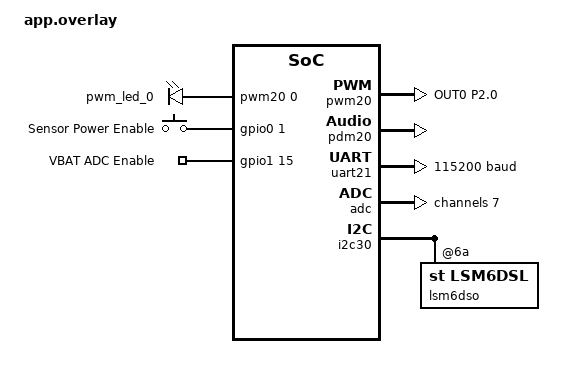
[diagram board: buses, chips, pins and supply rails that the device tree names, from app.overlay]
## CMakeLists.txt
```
#
# Copyright (c) 2018 Nordic Semiconductor
#
# SPDX-License-Identifier: LicenseRef-Nordic-5-Clause
#
cmake_minimum_required(VERSION 3.20.0)

find_package(Zephyr REQUIRED HINTS $ENV{ZEPHYR_BASE})
project(nRF54L15_peripheral_uart)

# NORDIC SDK APP START
target_sources(app PRIVATE
  src/main.c
  src/hardware/power_control.c
  src/hardware/pdm_handler.c
  src/hardware/imu_manager.c
  src/processing/dsp_processor.c
  src/bluetooth/ble_service.c
  src/bluetooth/ble_bas.c
  src/bluetooth/ble_dis.c
  src/system/battery_monitor.c
  src/system/power_manager.c
  src/system/watchdog.c
)

target_include_directories(app PRIVATE
  src/
  src/hardware/
  src/processing/
  src/bluetooth/
  src/system/
  src/config/
)

# NORDIC SDK APP END
```

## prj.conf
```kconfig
CONFIG_BT=y
CONFIG_BT_PERIPHERAL=y
CONFIG_BT_DEVICE_NAME="nRF54L15 Bluetooth LE"
CONFIG_BT_MAX_CONN=1
CONFIG_BT_MAX_PAIRED=1


# CMSIS-DSP for FFT
CONFIG_CMSIS_DSP=y
CONFIG_CMSIS_DSP_TRANSFORM=y
CONFIG_CMSIS_DSP_FASTMATH=y
CONFIG_CMSIS_DSP_COMPLEXMATH=y
CONFIG_CMSIS_DSP_STATISTICS=y

CONFIG_FPU=y
CONFIG_FPU_SHARING=y

# Audio / PDM Microphone
CONFIG_AUDIO=y
CONFIG_AUDIO_DMIC=y
CONFIG_AUDIO_DMIC_NRFX_PDM=y
CONFIG_NRFX_PDM=y

CONFIG_CBPRINTF_FP_SUPPORT=y
CONFIG_NEWLIB_LIBC=y
CONFIG_NEWLIB_LIBC_FLOAT_PRINTF=y

# General System
CONFIG_CLOCK_CONTROL_NRF_K32SRC_RC=y
CONFIG_BT_NUS=y
CONFIG_PWM=y
CONFIG_SERIAL=y
CONFIG_CONSOLE=y
CONFIG_UART_CONSOLE=y
CONFIG_LOG=y
CONFIG_LOG_BACKEND_UART=y
CONFIG_LOG_PRINTK=y
CONFIG_LOG_RUNTIME_FILTERING=y
# Watchdog aktivieren für Production Stability (needs devicetree wdt node)
CONFIG_WATCHDOG=y
CONFIG_ASSERT=y
CONFIG_HEAP_MEM_POOL_SIZE=8192
# Stack-Größen
CONFIG_MAIN_STACK_SIZE=4096
CONFIG_SYSTEM_WORKQUEUE_STACK_SIZE=4096

# Bluetooth Stack
CONFIG_BT_RX_STACK_SIZE=8192
CONFIG_BT_HCI_TX_STACK_SIZE=4096
CONFIG_BT_CTLR_TX_PWR_0=y

# Power Management (manual k_sleep/k_cpu_idle for nRF54L15)
# CONFIG_PM=y
# CONFIG_PM_DEVICE=y


# I2C and IMU
CONFIG_I2C=y
CONFIG_SENSOR=y
CONFIG_LSM6DSL=y
CONFIG_LSM6DSL_TRIGGER_NONE=y

# ADC for Battery Monitoring
CONFIG_ADC=y
CONFIG_ADC_NRFX_SAADC=y

# BLE Services
CONFIG_BT_BAS=y
CONFIG_BT_DIS=y
CONFIG_BT_DIS_STR_MAX=32

# Logging optimiert für Production
CONFIG_LOG_DEFAULT_LEVEL=2
CONFIG_LOG_MODE_DEFERRED=y
```

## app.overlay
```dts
/ {
	chosen {
		zephyr,console = &uart21;
		zephyr,shell-uart = &uart21;
	};

	pwmleds {
		compatible = "pwm-leds";
		pwm_led_0: pwm_led_0 {
			pwms = <&pwm20 0 PWM_MSEC(10) PWM_POLARITY_INVERTED>;
		};
	};

	aliases {
		pwm-led0 = &pwm_led_0;
		sensor-power = &sensor_power;
		vbat-enable = &vbat_enable;
	};

	power_control {
		compatible = "gpio-keys";
		sensor_power: sensor_power {
			gpios = <&gpio0 1 GPIO_ACTIVE_HIGH>;
			label = "Sensor Power Enable";
		};
		vbat_enable: vbat_enable {
			gpios = <&gpio1 15 GPIO_ACTIVE_HIGH>;
			label = "VBAT ADC Enable";
		};
	};
};

&led0 {
	status = "disabled";
};

&pinctrl {
	pwm20_default: pwm20_default {
		group1 {
			psels = <NRF_PSEL(PWM_OUT0, 2, 0)>;
			nordic,drive-mode = <NRF_DRIVE_S0S1>;
		};
	};
	pwm20_sleep: pwm20_sleep {
		group1 {
			psels = <NRF_PSEL(PWM_OUT0, 2, 0)>;
			low-power-enable;
		};
	};
};

&pwm20 {
	status = "okay";
	pinctrl-0 = <&pwm20_default>;
	pinctrl-1 = <&pwm20_sleep>;
	pinctrl-names = "default", "sleep";
};

dmic_dev: &pdm20 {
	status = "okay";
	clock-source = "PCLK32M_HFXO";
};

&uart21 {
	status = "okay";
	current-speed = <115200>;
};

&gpio0 {
	/* Remove conflicting gpio-hog */
	/delete-node/ imu_power_default_on;
};

&adc {
	status = "okay";
	#address-cells = <1>;
	#size-cells = <0>;
	
	channel@7 {
		reg = <7>;
		zephyr,gain = "ADC_GAIN_1";
		zephyr,reference = "ADC_REF_INTERNAL";
		zephyr,acquisition-time = <ADC_ACQ_TIME_DEFAULT>;
		zephyr,resolution = <12>;
	};
};

&i2c30 {
	/* The board physically has an LSM6DS3TR-C (WHO_AM_I = 0x6A). 
	   Zephyr's lsm6dso driver expects 0x6C and fails. lsm6dsl expects 0x6A. 
	   We simply override the compatible string of the existing node 
	   and delete the incompatible properties. */
	lsm6dso@6a {
		compatible = "st,lsm6dsl";
		/delete-property/ accel-pm;
		/delete-property/ gyro-pm;
	};
};
```

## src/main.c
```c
#include <stdlib.h>
#include <stdio.h>
#include <string.h>
#include <math.h>
#include <zephyr/logging/log.h>
#include <zephyr/kernel.h>
#include <zephyr/device.h>
#include <zephyr/devicetree.h>
#include <zephyr/drivers/sensor.h>
#include <zephyr/init.h>
#include <zephyr/logging/log_ctrl.h>

#include "app_config.h"
#include "power_control.h"
#include "pdm_handler.h"
#include "imu_manager.h"
#include "dsp_processor.h"
#include "ble_service.h"
#include "ble_bas.h"
#include "ble_dis.h"
#include "battery_monitor.h"
#include "power_manager.h"
#include "watchdog.h"

LOG_MODULE_REGISTER(main, LOG_LEVEL_INF);

static K_SEM_DEFINE(ble_tx_sem, 0, 1);
static K_SEM_DEFINE(industry_sample_sem, 0, 1);
static atomic_t fft_ready_idx = ATOMIC_INIT(0);
static uint8_t fft_buf[2][FFT_BANDS + 1];

void trigger_industry_sample(void)
{
	k_sem_give(&industry_sample_sem);
}

static int64_t last_uart_imu_time = 0;
static int64_t last_uart_mic_time = 0;
static int64_t last_battery_check = 0;
static uint8_t last_battery_level = 100;

static k_tid_t audio_thread_id;
static k_tid_t sensor_thread_id;
static k_tid_t ble_tx_thread_id;

void audio_thread_suspend(void)
{
	if (audio_thread_id) {
		k_thread_suspend(audio_thread_id);
	}
}

void audio_thread_resume(void)
{
	if (audio_thread_id) {
		k_thread_resume(audio_thread_id);
	}
}

void sensor_thread_suspend(void)
{
	if (sensor_thread_id) {
		k_thread_suspend(sensor_thread_id);
	}
}

void sensor_thread_resume(void)
{
	if (sensor_thread_id) {
		k_thread_resume(sensor_thread_id);
	}
}

static void audio_thread_fn(void)
{
	k_sleep(K_MSEC(100));
	pdm_handler_start();
	
	while (1) {
		watchdog_feed();
		
		void *buf = NULL;
		size_t size = 0;
		int ret = pdm_handler_read(&buf, &size, 150);
		
		if (ret == 0 && buf && size >= BLOCK_SIZE_BYTES) {
			uint8_t bands[FFT_BANDS];
			dsp_processor_compute_fft((int16_t *)buf, BLOCK_SIZE_BYTES / 2, bands);
			
			if (power_manager_get_mode() == MODE_CONTINUOUS) {
				int idx = atomic_get(&fft_ready_idx);
				memcpy(fft_buf[idx], bands, FFT_BANDS + 1);  // Copy all 33 bytes (0xFF + 32 bands)
				atomic_set(&fft_ready_idx, 1 - idx);
				k_sem_give(&ble_tx_sem);
			}
			
			pdm_handler_free(buf);
			
			int64_t now = k_uptime_get();
			if (now - last_uart_mic_time >= UART_INTERVAL_MS) {
				last_uart_mic_time = now;
				
				uint8_t peak_band = 0;
				uint8_t peak_val = 0;
				uint32_t sum_sq = 0;
				
				for (int i = 0; i < FFT_BANDS; i++) {
					if (bands[i] > peak_val) {
						peak_val = bands[i];
						peak_band = i;
					}
					sum_sq += (uint32_t)bands[i] * bands[i];
				}
				
				float rms = sqrtf(sum_sq / (float)FFT_BANDS);
				float peak_db = (peak_val / 255.0f) * 90.0f;
				float rms_db = (rms / 255.0f) * 90.0f;
				
				LOG_INF("MIC: peak_band=%u peak=%.1f dB rms=%.1f dB",
				        peak_band, (double)peak_db, (double)rms_db);
			}
		}
	}
}

static void ble_tx_thread_fn(void)
{
	k_sleep(K_MSEC(100));
	int64_t last_sent = 0;
	
	while (1) {
		watchdog_feed();
		k_sem_take(&ble_tx_sem, K_FOREVER);
		
		int64_t now = k_uptime_get();
		int64_t wait = 50 - (now - last_sent);
		if (wait > 0) { k_sleep(K_MSEC(wait)); }
		
		int ready = (int)atomic_get(&fft_ready_idx);
		int err = ble_service_send_data(fft_buf[ready], FFT_BANDS + 1);
		if (err && err != -ENOTCONN) {
			LOG_WRN("FFT send err %d", err);
		}
		last_sent = k_uptime_get();
	}
}

static void sensor_thread_fn(void)
{
	k_sleep(K_MSEC(100));
	char imu_buf[96];
	
	while (1) {
		watchdog_feed();
		
		struct sensor_value accel[3] = {0};
		int ret = imu_manager_read(accel);
		if (ret < 0) {
			LOG_ERR("IMU read failed: %d", ret);
			k_sleep(K_MSEC(500));
			continue;
		}
		
		double ax = sensor_value_to_double(&accel[0]);
		double ay = sensor_value_to_double(&accel[1]);
		double az = sensor_value_to_double(&accel[2]);
		
		if (power_manager_get_mode() == MODE_CONTINUOUS) {
			snprintf(imu_buf, sizeof(imu_buf),
			         "{\"t\":%u,\"a\":[%.2f,%.2f,%.2f]}",
			         k_uptime_get_32(), ax, ay, az);
			
			int send_ret = ble_service_send_data((uint8_t *)imu_buf, strlen(imu_buf));
			if (send_ret && send_ret != -ENOTCONN) {
				LOG_DBG("IMU BLE send failed: %d", send_ret);
			}
		}
		
		int64_t now = k_uptime_get();
		if (now - last_uart_imu_time >= UART_INTERVAL_MS) {
			last_uart_imu_time = now;
			LOG_INF("IMU: X=%.2f Y=%.2f Z=%.2f", (double)ax, (double)ay, (double)az);
		}
		
		if (now - last_battery_check >= (BATTERY_UPDATE_INTERVAL_SEC * 1000)) {
			last_battery_check = now;
			uint8_t level = battery_monitor_read_level();
			if (abs(level - last_battery_level) >= BATTERY_CHANGE_THRESHOLD) {
				ble_bas_update_level(level);
				last_battery_level = level;
			}
		}
		
		k_sleep(K_MSEC(500));
	}
}

static struct k_thread audio_thread_data;
static struct k_thread ble_tx_thread_data;
static struct k_thread sensor_thread_data;
static struct k_thread industry_thread_data;

static K_THREAD_STACK_DEFINE(audio_thread_stack, 10240);
static K_THREAD_STACK_DEFINE(ble_tx_thread_stack, 2048);
static K_THREAD_STACK_DEFINE(sensor_thread_stack, 4096);
static K_THREAD_STACK_DEFINE(industry_thread_stack, 8192);

static void industry_thread_fn(void)
{
	char buf[256];
	
	while (1) {
		k_sem_take(&industry_sample_sem, K_FOREVER);
		
		LOG_INF("Industry: wake for sample");
		
		power_control_sensors_on();
		k_msleep(50);  // IMU boot time (LSM6DS3TR-C needs 35ms typical)
		
		/* Reset ODR flags after power cycle */
		imu_manager_power_cycle_reset();
		
		/* Collect 10 IMU samples over 100ms window */
		float sum_sq = 0.0f;
		float peak_mag = 0.0f;
		float last_ax = 0.0f, last_ay = 0.0f, last_az = 0.0f;
		
		for (int i = 0; i < 10; i++) {
			struct sensor_value accel[3] = {0};
			if (imu_manager_read(accel) == 0) {
				float ax = sensor_value_to_double(&accel[0]);
				float ay = sensor_value_to_double(&accel[1]);
				float az = sensor_value_to_double(&accel[2]);
				float mag = sqrt(ax*ax + ay*ay + az*az);
				sum_sq += mag * mag;
				if (mag > peak_mag) peak_mag = mag;
				last_ax = ax; last_ay = ay; last_az = az;
			}
			k_msleep(10);
		}
		
		float rms = sqrt(sum_sq / 10.0f);
		
		/* Start PDM for audio measurement */
		pdm_handler_start();
		k_msleep(100);  // Wait for PDM to stabilize and fill buffer
		
		uint8_t bands[FFT_BANDS] = {0};
		uint8_t audio_peak = 0;
		void *audio_buf = NULL;
		size_t audio_size = 0;
		int ret = pdm_handler_read(&audio_buf, &audio_size, 200);
		if (ret == 0 && audio_buf && audio_size >= BLOCK_SIZE_BYTES) {
			dsp_processor_compute_fft((int16_t *)audio_buf, BLOCK_SIZE_BYTES / 2, bands);
			for (int i = 0; i < FFT_BANDS; i++) {
				if (bands[i] > audio_peak) audio_peak = bands[i];
			}
			pdm_handler_free(audio_buf);
		}
		
		/* Stop PDM and power off sensors */
		pdm_handler_stop();
		power_control_sensors_off();
		
		/* Enhanced payload: timestamp, last accel values, RMS, Peak, FFT bands, audio peak */
		int len = snprintf(buf, sizeof(buf),
		                   "{\"t\":%u,\"a\":[%.2f,%.2f,%.2f],\"rms\":%.3f,\"peak\":%.3f,\"apeak\":%u,\"f\":[" ,
		                   k_uptime_get_32(), last_ax, last_ay, last_az, rms, peak_mag, audio_peak);
		
		for (int i = 0; i < FFT_BANDS && len < sizeof(buf) - 10; i++) {
			len += snprintf(buf + len, sizeof(buf) - len, "%s%u", i ? "," : "", bands[i]);
		}
		
		len += snprintf(buf + len, sizeof(buf) - len, "]}");
		
		int send_ret = ble_service_send_data((uint8_t *)buf, len);
		if (send_ret == 0) {
			LOG_INF("Industry: RMS=%.3f Peak=%.3f APeak=%u (%d bytes) - BLE OK", rms, peak_mag, audio_peak, len);
		} else {
			LOG_WRN("Industry: RMS=%.3f Peak=%.3f APeak=%u - BLE err %d", rms, peak_mag, audio_peak, send_ret);
		}
	}
}

int main(void)
{
	k_msleep(2000);
	
	log_filter_set(NULL, 0, log_source_id_get("bt_att"), LOG_LEVEL_ERR);
	
	LOG_INF("=== nRF54L15 Industrial Sensorhub Starting ===");
	
	if (power_control_init() < 0) {
		LOG_ERR("Power control init failed");
		return -1;
	}
	
	power_control_sensors_on();
	k_msleep(100);
	LOG_INF("Sensors powered on");
	
	if (pdm_handler_init() < 0) {
		LOG_ERR("PDM handler init failed");
		return -1;
	}
	
	if (imu_manager_init() < 0) {
		LOG_ERR("IMU manager init failed");
		return -1;
	}
	
	if (dsp_processor_init() < 0) {
		LOG_ERR("DSP processor init failed");
		return -1;
	}
	
	if (battery_monitor_init() < 0) {
		LOG_ERR("Battery monitor init failed");
		return -1;
	}
	
	if (watchdog_init() < 0) {
		LOG_WRN("Watchdog init failed (continuing without)");
	}
	
	if (ble_bas_init() < 0) {
		LOG_ERR("BLE BAS init failed");
		return -1;
	}
	
	if (ble_dis_init() < 0) {
		LOG_ERR("BLE DIS init failed");
		return -1;
	}
	
	if (ble_service_init() < 0) {
		LOG_ERR("BLE service init failed");
		return -1;
	}
	
	if (power_manager_init() < 0) {
		LOG_ERR("Power manager init failed");
		return -1;
	}
	
	audio_thread_id = k_thread_create(&audio_thread_data, audio_thread_stack,
	                                   K_THREAD_STACK_SIZEOF(audio_thread_stack),
	                                   (k_thread_entry_t)audio_thread_fn,
	                                   NULL, NULL, NULL, 3, 0, K_NO_WAIT);
	
	sensor_thread_id = k_thread_create(&sensor_thread_data, sensor_thread_stack,
	                                    K_THREAD_STACK_SIZEOF(sensor_thread_stack),
	                                    (k_thread_entry_t)sensor_thread_fn,
	                                    NULL, NULL, NULL, 7, 0, K_NO_WAIT);
	
	ble_tx_thread_id = k_thread_create(&ble_tx_thread_data, ble_tx_thread_stack,
	                                    K_THREAD_STACK_SIZEOF(ble_tx_thread_stack),
	                                    (k_thread_entry_t)ble_tx_thread_fn,
	                                    NULL, NULL, NULL, 5, 0, K_NO_WAIT);
	
	k_thread_create(&industry_thread_data, industry_thread_stack,
	                K_THREAD_STACK_SIZEOF(industry_thread_stack),
	                (k_thread_entry_t)industry_thread_fn,
	                NULL, NULL, NULL, 6, 0, K_NO_WAIT);
	
	uint8_t initial_battery = battery_monitor_read_level();
	ble_bas_update_level(initial_battery);
	last_battery_level = initial_battery;
	
	LOG_INF("=== System Ready (Battery: %u%%) ===", initial_battery);
	
	return 0;
}
```
